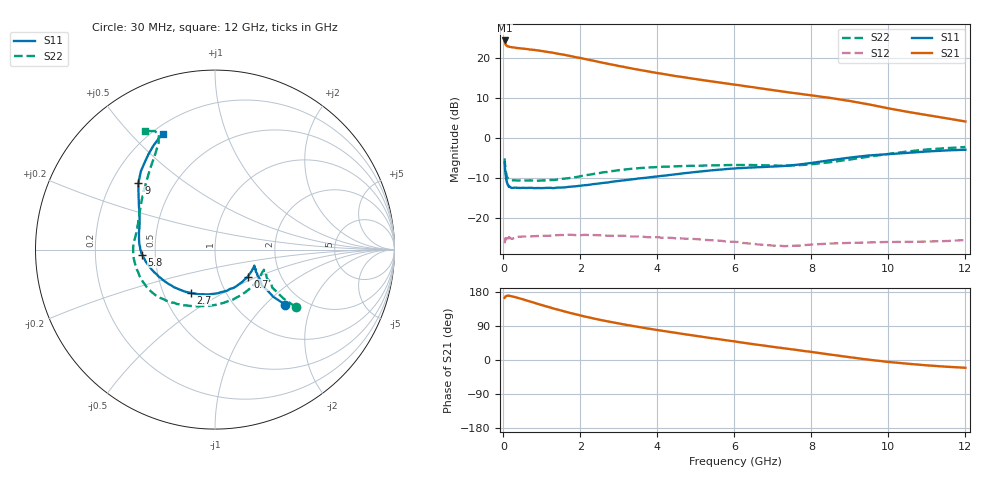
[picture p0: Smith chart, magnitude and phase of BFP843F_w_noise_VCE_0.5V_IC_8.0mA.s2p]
! Infineon Technologies  Discrete & RF Semiconductors
! BFP843F
! VCE =  0.5 V,  IC =  8.0 mA
! Common Emitter S-Parameters:  Aug 2013
# GHz  S  MA  R  50
!  f  S11  S21  S12  S22
! GHz  MAG  ANG  MAG  ANG  MAG  ANG  MAG  ANG
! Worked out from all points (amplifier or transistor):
!   103 points, 30 MHz to 12 GHz, reference 50 ohm
!   highest |S21| = 24.3 dB at 30 MHz (marker M1)
!   |S21| within 3 dB of that: start of sweep to 1.233 GHz
!   unconditionally stable (mu >= 1): 184.9 MHz to 384.9 MHz; 3.664 GHz to end of sweep
!   at 400 MHz: K = 1.00, MSG = 23.6 dB, |S12| = -24.7 dB
!   at 3.7 GHz: K = 1.01, MAG = 20.3 dB, |S12| = -24.8 dB
!   at 12 GHz: K = 1.51, MAG = 10.6 dB, |S12| = -25.6 dB
!   lowest NFmin = 0.80 dB at 450 MHz
!   S11 on the Smith chart (normalised r, x): 30 MHz: 1.62, -1.32; 700 MHz: 1.36, -0.44; 2.7 GHz: 0.69, -0.36; 5.8 GHz: 0.42, -0.03; 9 GHz: 0.31, +0.34; 12 GHz: 0.24, +0.62
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0.03  0.498 -38.1  16.41 164.2  0.048 32.1  0.5529 -35.4
0.04  0.4165 -39.0  15.46 164.9  0.0513 24.3  0.4676 -35.5
0.05  0.3675 -37.8  14.81 167.4  0.0555 20.8  0.4234 -34.6
0.08  0.2919 -32.4  14.17 169.1  0.0538 13.8  0.3432 -29.8
0.13  0.2538 -25.9  13.76 169.8  0.0564 6.6  0.3064 -23.7
0.3  0.2381 -23.2  13.34 166.0  0.0571 4.1  0.2933 -23.8
0.7  0.2373 -39.8  12.62 154.1  0.0585 2.3  0.2929 -43.0
1  0.2346 -54.6  12.1 144.8  0.0594 1.6  0.2926 -59.7
1.3  0.2345 -69.0  11.49 135.9  0.0601 0.1  0.2965 -75.7
1.7  0.2439 -86.4  10.57 125.0  0.0615 -1.4  0.3127 -94.7
2.1  0.2549 -101.7  9.669 115.1  0.0612 -3.3  0.3367 -110.9
2.7  0.2755 -119.4  8.415 102.1  0.0597 -5.1  0.3737 -127.6
3.4  0.3041 -135.0  7.225 89.1  0.0584 -7.4  0.413 -140.7
4.1  0.3337 -148.8  6.317 77.5  0.0563 -8.3  0.4325 -150.7
5  0.3736 -163.9  5.403 63.7  0.0542 -9.9  0.4461 -162.8
5.8  0.4066 -176.1  4.758 51.9  0.0503 -10.2  0.4552 -173.3
6.1  0.4167 179.7  4.543 47.5  0.0497 -10.4  0.4565 -177.5
7.1  0.4386 163.6  3.872 33.3  0.0445 -6.1  0.4489 169.1
8.5  0.5246 144.3  3.136 14.2  0.0477 1.9  0.495 145.3
9  0.5649 139.1  2.876 7.3  0.0486 2.8  0.5345 136.1
10.5  0.6472 125.0  2.106 -9.8  0.05 5.1  0.6732 117.8
12  0.7082 114.2  1.596 -20.5  0.0527 11.8  0.7665 120.5
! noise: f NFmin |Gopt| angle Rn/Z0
0.45  0.8  0.07  14  0.04
0.9  0.8  0.07  26  0.04
1.5  0.84  0.07  41  0.05
1.9  0.9  0.08  59  0.05
2.4  0.94  0.08  75  0.05
3.5  1  0.1  108  0.11
5.5  1.11  0.16  173  0.16
10  1.71  0.37  -118  0.26
